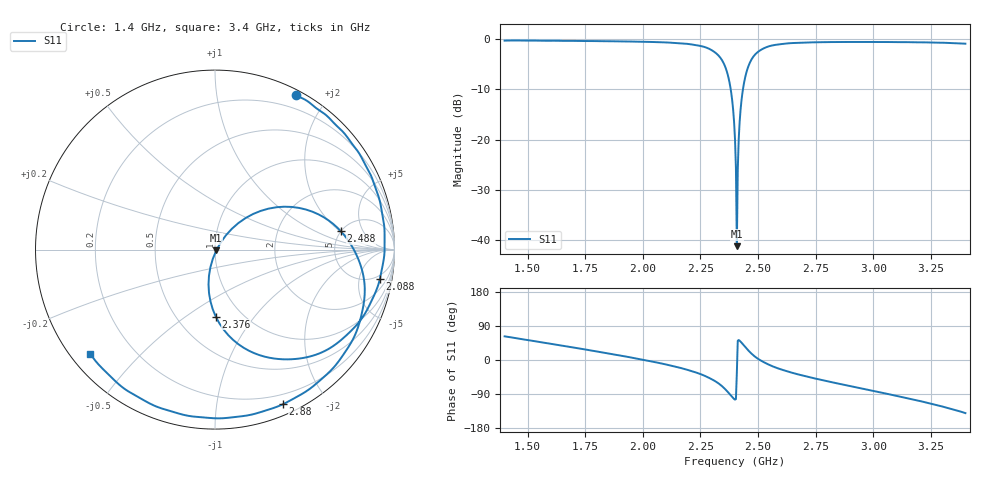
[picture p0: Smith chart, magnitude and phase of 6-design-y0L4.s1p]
#  Hz  S  RI  R  50
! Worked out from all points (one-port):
!   501 points, 1.4 GHz to 3.4 GHz, reference 50 ohm
!   lowest |S11| = -41.3 dB at 2.408 GHz (marker M1), VSWR 1.02, Z = 50.7 - j0.485 ohm
!   |S11| at or under -10 dB: 2.381 GHz to 2.435 GHz (53.12 MHz wide, 2.21 % of centre)
!   S11 on the Smith chart (normalised r, x): 1.4 GHz: 0.06, +1.65; 2.088 GHz: 4, -10; 2.376 GHz: 0.76, -0.66; 2.488 GHz: 4.99, +2.05; 2.88 GHz: 0.10, -1.53; 3.4 GHz: 0.06, -0.36
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1.4e9  0.4492 0.8602
1.652e9  0.764 0.5889
1.9e9  0.9319 0.1987
2.088e9  0.9188 -0.1632
2.152e9  0.8652 -0.3002
2.248e9  0.6906 -0.5136
2.312e9  0.4248 -0.611
2.348e9  0.1895 -0.5637
2.376e9  0.00393 -0.3728
2.392e9  -0.0362 -0.1942
2.396e9  -0.0336 -0.146
2.4e9  -0.0255 -0.0978
2.404e9  -0.0118 -0.0505
2.408e9  0.00717 -0.00478
2.412e9  0.0313 0.0385
2.416e9  0.0601 0.0787
2.42e9  0.0932 0.1152
2.424e9  0.1298 0.1475
2.436e9  0.2543 0.2156
2.456e9  0.4679 0.2323
2.488e9  0.7011 0.1024
2.548e9  0.8325 -0.1866
2.652e9  0.7579 -0.5192
2.88e9  0.3785 -0.8616
2.9e9  0.3388 -0.878
3.152e9  -0.1852 -0.9181
3.288e9  -0.4744 -0.7952
3.4e9  -0.6946 -0.5798
